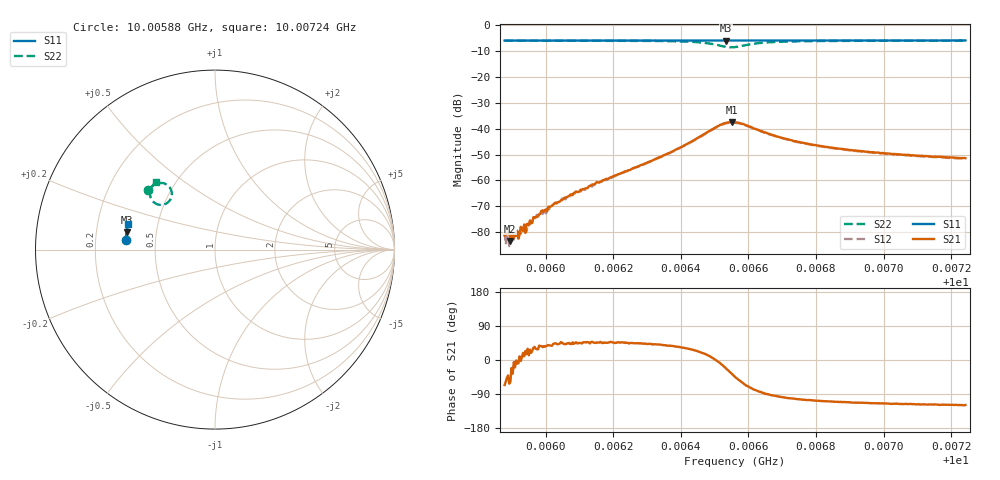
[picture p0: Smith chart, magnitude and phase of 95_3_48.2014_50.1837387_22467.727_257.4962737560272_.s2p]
#  HZ  S  RI  R  50.00
! Rohde & Schwarz Vector Network Analyzer
! Rohde-Schwarz,ZNB20-2Port,1311601062101988,3.16
! Created: UTC 3/20/2024, 11:40:16 AM
! freq[Hz]  re:S11  im:S11  re:S21  im:S21  re:S12  im:S12  re:S22  im:S22
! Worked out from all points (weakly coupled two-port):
!   401 points, 10.00588 GHz to 10.00724 GHz, reference 50 ohm
!   highest |S21| = -37.39 dB at 10.00655 GHz (marker M1); lowest = -83.4 dB at 10.0059 GHz (marker M2)
!   lowest |S11| = -6.0 dB at 10.00653 GHz (marker M3), VSWR 3.01, Z = 16.8 + j4.32 ohm
!   |S11| at or under -10 dB: nowhere
!   |S22| runs from -8.6 to -6.0 dB; largest |S21 - S12| = 0.00092
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1.0005878e10  -0.4983 0.0546  3.52e-05 -7.9e-05  6.89e-05 -7.11e-05  -0.3727 0.3303
1.0005895e10  -0.4982 0.0557  3.57e-05 -5.75e-05  8.15e-05 -3.19e-05  -0.3718 0.3314
1.0005916e10  -0.4981 0.0571  0.000106 -1.8e-05  8.25e-05 -1.67e-05  -0.3708 0.3326
1.0005923e10  -0.4981 0.0577  8.79e-05 1.49e-05  8.69e-05 2.5e-05  -0.3704 0.3332
1.0005936e10  -0.4979 0.0585  0.000139 2.37e-05  0.000138 1.13e-05  -0.3696 0.334
1.000595e10  -0.4981 0.0593  0.000133 2.93e-05  0.000144 5.51e-05  -0.3688 0.3349
1.0005981e10  -0.4977 0.0614  0.000177 0.000138  0.000183 0.00012  -0.3668 0.337
1.0005998e10  -0.4976 0.0626  0.000221 0.000155  0.000207 0.000181  -0.3658 0.3381
1.0006022e10  -0.4975 0.0641  0.000253 0.000227  0.000245 0.000234  -0.3643 0.3397
1.0006107e10  -0.4969 0.0696  0.00048 0.000459  0.000444 0.00048  -0.3581 0.346
1.0006335e10  -0.495 0.0845  0.00211 0.00181  0.002 0.00184  -0.3299 0.3657
1.000641e10  -0.494 0.0894  0.00403 0.00251  0.00385 0.00262  -0.3068 0.3714
1.0006465e10  -0.4932 0.0929  0.00719 0.00238  0.00687 0.00263  -0.2753 0.3653
1.0006533e10  -0.4917 0.0966  0.012 -0.00478  0.012 -0.00392  -0.2431 0.2911
1.000655e10  -0.4916 0.0974  0.0109 -0.0079  0.0111 -0.00705  -0.2599 0.2652
1.000656e10  -0.4918 0.0979  0.00956 -0.00934  0.00981 -0.00846  -0.275 0.2548
1.0006635e10  -0.4917 0.1025  0.000985 -0.00903  0.00119 -0.00886  -0.3537 0.2792
1.00067e10  -0.4913 0.1067  -0.000954 -0.00656  -0.00063 -0.00647  -0.3624 0.3102
1.0006789e10  -0.4904 0.1125  -0.00139 -0.00473  -0.00116 -0.00467  -0.3586 0.3329
1.0006905e10  -0.4888 0.12  -0.00144 -0.00357  -0.00127 -0.00355  -0.3511 0.3492
1.0007017e10  -0.4874 0.1271  -0.00141 -0.00299  -0.00126 -0.003  -0.344 0.3597
1.0007242e10  -0.4839 0.1413  -0.0013 -0.00237  -0.00119 -0.00239  -0.3309 0.3752
